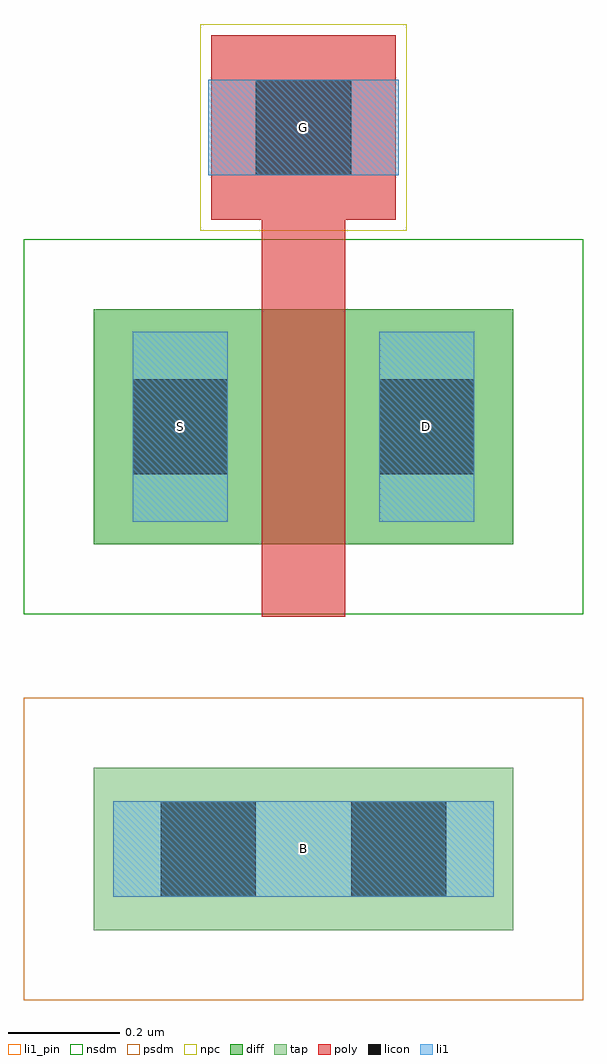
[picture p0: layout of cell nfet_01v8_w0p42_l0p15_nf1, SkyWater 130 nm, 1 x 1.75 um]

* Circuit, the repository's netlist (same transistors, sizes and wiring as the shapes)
.SUBCKT nfet_01v8_w0p42_l0p15_nf1 D G S B
M0 D G S B nfet_01v8 w=0.42 l=0.15
.ENDS

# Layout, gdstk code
import gdstk
lib = gdstk.Library(unit=1e-6, precision=1e-09)
def R(c, l, rs):  # rectangles x0, y0, x1, y1
    for r in rs: c.add(gdstk.rectangle(r[:2], r[2:], *l))
diff = (65, 20)
tap = (65, 44)
poly = (66, 20)
licon = (66, 44)
li1_pin = (67, 16)
li1 = (67, 20)
nsdm = (93, 44)
psdm = (94, 20)
npc = (95, 20)

nfet_01v8_w0p42_l0p15_nf = lib.new_cell('nfet_01v8_w0p42_l0p15_nf1')
R(nfet_01v8_w0p42_l0p15_nf, diff, [(0,0,0.75,0.42)])
R(nfet_01v8_w0p42_l0p15_nf, tap, [(0,-0.69,0.75,-0.4)])
R(nfet_01v8_w0p42_l0p15_nf, poly, [(0.3,-0.13,0.45,0.58), (0.21,0.58,0.54,0.91)])
R(nfet_01v8_w0p42_l0p15_nf, licon, [(0.12,-0.63,0.29,-0.46), (0.46,-0.63,0.63,-0.46), (0.07,0.125,0.24,0.295), (0.51,0.125,0.68,0.295), (0.29,0.66,0.46,0.83)])
R(nfet_01v8_w0p42_l0p15_nf, li1_pin, [(0.37,-0.55,0.38,-0.54), (0.15,0.205,0.16,0.215), (0.59,0.205,0.6,0.215), (0.37,0.74,0.38,0.75)])
R(nfet_01v8_w0p42_l0p15_nf, li1, [(0.035,-0.63,0.715,-0.46), (0.07,0.04,0.24,0.38), (0.51,0.04,0.68,0.38), (0.205,0.66,0.545,0.83)])
R(nfet_01v8_w0p42_l0p15_nf, nsdm, [(-0.125,-0.125,0.875,0.545)])
R(nfet_01v8_w0p42_l0p15_nf, psdm, [(-0.125,-0.815,0.875,-0.275)])
R(nfet_01v8_w0p42_l0p15_nf, npc, [(0.19,0.56,0.56,0.93)])
nfet_01v8_w0p42_l0p15_nf.add(gdstk.Label('G', (0.375,0.745), layer=67, texttype=5))
nfet_01v8_w0p42_l0p15_nf.add(gdstk.Label('B', (0.375,-0.545), layer=67, texttype=5))
nfet_01v8_w0p42_l0p15_nf.add(gdstk.Label('S', (0.155,0.21), layer=67, texttype=5))
nfet_01v8_w0p42_l0p15_nf.add(gdstk.Label('D', (0.595,0.21), layer=67, texttype=5))

lib.write_gds('nfet_01v8_w0p42_l0p15_nf1.gds')
